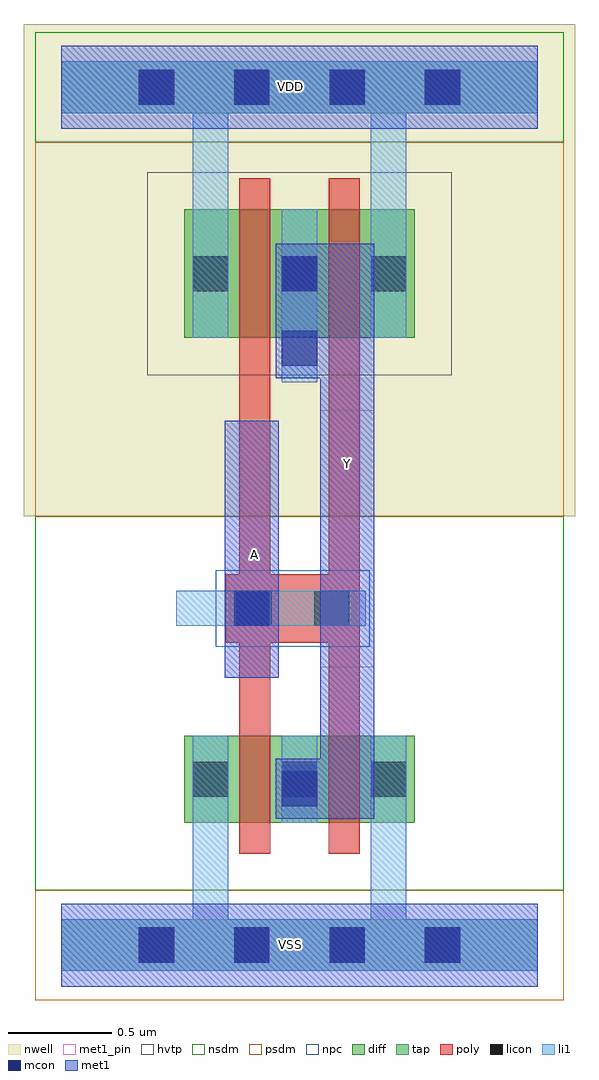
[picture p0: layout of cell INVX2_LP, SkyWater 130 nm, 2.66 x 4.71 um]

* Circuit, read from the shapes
.subckt INVX2_LP A VDD VSS Y
XM1 Y A VSS VSS sky130_fd_pr__nfet_01v8 w=0.42 l=0.15 m=2
XM2 Y A VDD VDD sky130_fd_pr__pfet_01v8_hvt w=0.62 l=0.15 m=2
.ends

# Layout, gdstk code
import gdstk
lib = gdstk.Library(unit=1e-6, precision=1e-09)
def R(c, l, rs):  # rectangles x0, y0, x1, y1
    for r in rs: c.add(gdstk.rectangle(r[:2], r[2:], *l))
def A(c, l, x, y, w, h, nx, ny, dx, dy):  # array of equal rectangles
    R(c, l, [(x+i*dx, y+j*dy, x+i*dx+w, y+j*dy+h) for i in range(nx) for j in range(ny)])
def P(c, l, *ps):  # polygons
    for p in ps: c.add(gdstk.Polygon(p, *l))
nwell = (64, 20)
diff = (65, 20)
tap = (65, 44)
poly = (66, 20)
licon = (66, 44)
li1 = (67, 20)
mcon = (67, 44)
met1_pin = (68, 16)
met1 = (68, 20)
hvtp = (78, 44)
nsdm = (93, 44)
psdm = (94, 20)
npc = (95, 20)

pyl1con_c_cdns_752016907 = lib.new_cell('PYL1CON_C_CDNS_752016907000')
R(pyl1con_c_cdns_752016907, poly, [(-0.135,-0.165,0.135,0.165)])
R(pyl1con_c_cdns_752016907, licon, [(-0.085,-0.085,0.085,0.085)])
R(pyl1con_c_cdns_752016907, npc, [(-0.185,-0.185,0.185,0.185)])

l1m1_c_cdns_752016907001 = lib.new_cell('L1M1_C_CDNS_752016907001')
R(l1m1_c_cdns_752016907001, li1, [(-0.085,-0.165,0.085,0.165)])
R(l1m1_c_cdns_752016907001, mcon, [(-0.085,-0.085,0.085,0.085)])
R(l1m1_c_cdns_752016907001, met1, [(-0.115,-0.145,0.115,0.145)])

l1m1_c_cdns_752016907002 = lib.new_cell('L1M1_C_CDNS_752016907002')
R(l1m1_c_cdns_752016907002, li1, [(-0.085,-0.345,0.085,0.345)])
R(l1m1_c_cdns_752016907002, mcon, [(-0.085,-0.265,0.085,-0.095), (-0.085,0.095,0.085,0.265)])
R(l1m1_c_cdns_752016907002, met1, [(-0.115,-0.325,0.115,0.325)])

l1m1_c_cdns_752016907003 = lib.new_cell('L1M1_C_CDNS_752016907003')
R(l1m1_c_cdns_752016907003, li1, [(-0.165,-0.085,0.165,0.085)])
R(l1m1_c_cdns_752016907003, mcon, [(-0.085,-0.085,0.085,0.085)])
R(l1m1_c_cdns_752016907003, met1, [(-0.115,-0.145,0.115,0.145)])

invx2_lp = lib.new_cell('INVX2_LP')
R(invx2_lp, nwell, [(-0.18,2.07,2.48,4.445)])
R(invx2_lp, diff, [(0.595,0.59,1.705,1.01), (0.595,2.93,1.705,3.55)])
P(invx2_lp, poly, [(1.44,3.7),(1.29,3.7),(1.29,1.79),(1.01,1.79),(1.01,3.7),(0.86,3.7),(0.86,1.79),(0.825,1.79),(0.825,1.46),(0.86,1.46),(0.86,0.44),(1.01,0.44),(1.01,1.46),(1.29,1.46),(1.29,0.44),(1.44,0.44)])
A(invx2_lp, licon, 0.375, -0.085, 0.17, 0.17, 4, 2, 0.46, 4.14)
A(invx2_lp, licon, 0.635, 0.715, 0.17, 0.17, 3, 2, 0.43, 2.44)
R(invx2_lp, li1, [(1.065,0.59,1.235,1.01), (1.065,2.93,1.235,3.55)])
P(invx2_lp, li1, [(2.3,4.265),(0,4.265),(0,4.015),(0.635,4.015),(0.635,2.93),(0.805,2.93),(0.805,4.015),(1.495,4.015),(1.495,2.93),(1.665,2.93),(1.665,4.015),(2.3,4.015)],
  [(2.3,0.125),(1.665,0.125),(1.665,1.01),(1.495,1.01),(1.495,0.125),(0.805,0.125),(0.805,1.01),(0.635,1.01),(0.635,0.125),(0,0.125),(0,-0.125),(2.3,-0.125)])
A(invx2_lp, mcon, 0.375, -0.085, 0.17, 0.17, 4, 2, 0.46, 4.14)
R(invx2_lp, met1_pin, [(0.79,1.29,1.05,2.53), (1.25,1.34,1.51,2.58)])
R(invx2_lp, hvtp, [(0.415,2.75,1.885,3.73)])
R(invx2_lp, nsdm, [(-0.125,0.265,2.425,2.07), (-0.125,3.875,2.425,4.405)])
R(invx2_lp, psdm, [(-0.125,-0.265,2.425,0.265), (-0.125,2.07,2.425,3.875)])
R(invx2_lp, npc, [(0.745,1.44,1.49,1.81)])
invx2_lp.add(gdstk.FlexPath([(0.555,1.625),(1.47,1.625)], 0.17, ends="flush", simple_path=True, layer=67, datatype=20))  # li1
invx2_lp.add(gdstk.FlexPath([(0,4.14),(2.3,4.14)], 0.25, ends="flush", simple_path=True, layer=65, datatype=44))  # tap
invx2_lp.add(gdstk.FlexPath([(0,0),(2.3,0)], 0.25, ends="flush", simple_path=True, layer=65, datatype=44))  # tap
invx2_lp.add(gdstk.FlexPath([(0,4.14),(2.3,4.14)], 0.4, ends="flush", simple_path=True, layer=68, datatype=20))  # met1
invx2_lp.add(gdstk.FlexPath([(0,0),(2.3,0)], 0.4, ends="flush", simple_path=True, layer=68, datatype=20))  # met1
invx2_lp.add(gdstk.FlexPath([(0.92,1.29),(0.92,2.53)], 0.26, ends="flush", simple_path=True, layer=68, datatype=20))  # met1
invx2_lp.add(gdstk.FlexPath([(1.38,3.385),(1.38,0.61)], 0.26, ends="flush", simple_path=True, layer=68, datatype=20))  # met1
invx2_lp.add(gdstk.FlexPath([(0,4.14),(2.3,4.14)], 0.4, ends="flush", simple_path=True, layer=68, datatype=16))  # met1_pin
invx2_lp.add(gdstk.FlexPath([(0,0),(2.3,0)], 0.4, ends="flush", simple_path=True, layer=68, datatype=16))  # met1_pin
invx2_lp.add(gdstk.Reference(pyl1con_c_cdns_752016907, (0.93,1.625)))
invx2_lp.add(gdstk.Reference(pyl1con_c_cdns_752016907, (1.305,1.625)))
invx2_lp.add(gdstk.Reference(l1m1_c_cdns_752016907001, (1.15,0.755)))
invx2_lp.add(gdstk.Reference(l1m1_c_cdns_752016907002, (1.15,3.06)))
invx2_lp.add(gdstk.Reference(l1m1_c_cdns_752016907003, (0.92,1.625), x_reflection=True))
invx2_lp.add(gdstk.Label('VDD', (1.105,4.145), layer=68, texttype=5))
invx2_lp.add(gdstk.Label('A', (0.935,1.885), layer=68, texttype=5))
invx2_lp.add(gdstk.Label('Y', (1.38,2.325), layer=68, texttype=5))
invx2_lp.add(gdstk.Label('VSS', (1.105,0.005), layer=68, texttype=5))

lib.write_gds('INVX2_LP.gds')
